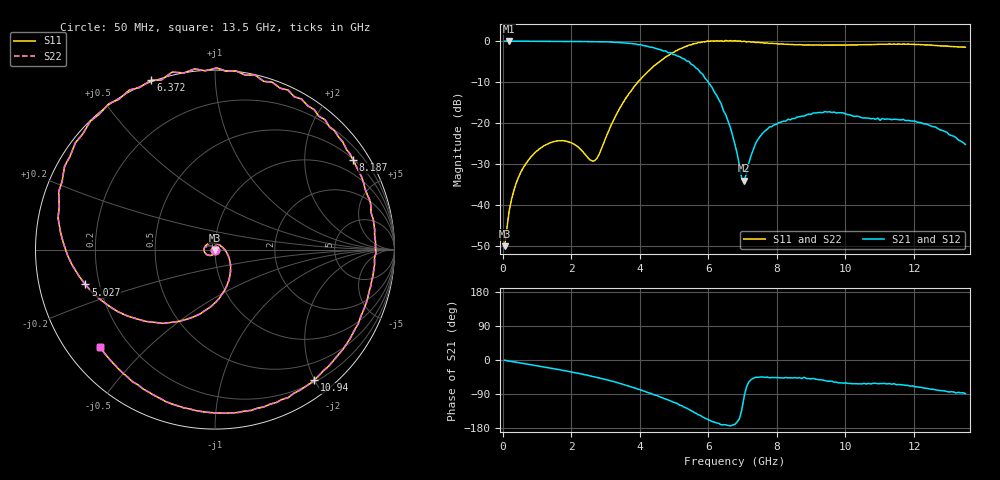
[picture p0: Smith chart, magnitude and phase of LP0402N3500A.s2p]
!	AVX THIN FILM OPERATION
!	0402 SIZE LOW PASS FILTER P/N LP0402N3500ANTR
!	Created August 2007
!	Network Analyzer HP8720E S.07.64: Feb23, 2000 Serial No.US39172382
#	mhz	S	db	R	50
!	S11	S11	S21	S21	S12	S12	S22	S22
!	dB	Phase	dB	Phase	dB	Phase	dB	Phase
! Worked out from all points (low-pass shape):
!   201 points, 50 MHz to 13.5 GHz, reference 50 ohm
!   highest |S21| = 0.00 dB at 184.5 MHz (marker M1); lowest = -34.1 dB at 7.044 GHz (marker M2)
!   |S21| within 3 dB of the highest: start of sweep to 4.925 GHz
!   lowest |S11| = -50.0 dB at 50 MHz (marker M3), VSWR 1.01, Z = 50.2 - j0.257 ohm
!   |S11| at or under -10 dB: start of sweep to 3.942 GHz
!   |S22| runs from -50.0 to 0.1 dB; largest |S21 - S12| = 0
!   S11 on the Smith chart (normalised r, x): 50 MHz: 1.00, -0.01; 5.027 GHz: 0.15, -0.13; 6.372 GHz: -0.01, +0.69; 8.187 GHz: 0.53, +3.31; 10.94 GHz: 0.23, -1.99; 13.5 GHz: 0.10, -0.36
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50  -50.02 -54.1  -0.02 -0.5  -0.02 -0.5  -50.02 -54.1
184.5  -41.33 -75.3  -0.00 -3.0  -0.00 -3.0  -41.33 -75.3
520.75  -32.01 -105.5  -0.04 -8.0  -0.04 -8.0  -32.01 -105.5
1058.75  -26.33 -139.0  -0.06 -16.3  -0.06 -16.3  -26.33 -139.0
1731.25  -24.29 178.9  -0.10 -27.0  -0.10 -27.0  -24.29 178.9
2336.5  -27.00 126.2  -0.10 -37.5  -0.10 -37.5  -27.00 126.2
2740  -28.64 39.4  -0.15 -46.0  -0.15 -46.0  -28.64 39.4
3614.25  -13.61 -71.1  -0.48 -67.3  -0.48 -67.3  -13.61 -71.1
4555.75  -5.10 -134.0  -2.01 -96.3  -2.01 -96.3  -5.10 -134.0
5026.5  -2.52 -164.9  -3.35 -112.9  -3.35 -112.9  -2.52 -164.9
5699  -0.37 151.0  -6.88 -144.1  -6.88 -144.1  -0.37 151.0
6371.5  0.07 110.7  -15.28 -171.2  -15.28 -171.2  0.07 110.7
6775  0.11 89.4  -25.28 -169.5  -25.28 -169.5  0.11 89.4
7044  -0.01 77.1  -34.05 -95.4  -34.05 -95.4  -0.01 77.1
7447.5  -0.29 60.1  -23.95 -45.9  -23.95 -45.9  -0.29 60.1
8187.25  -0.75 32.9  -19.53 -47.6  -19.53 -47.6  -0.75 32.9
9061.5  -0.98 5.2  -17.52 -48.7  -17.52 -48.7  -0.98 5.2
10137.5  -0.93 -27.4  -18.02 -61.8  -18.02 -61.8  -0.93 -27.4
10944.5  -0.79 -52.8  -18.78 -62.6  -18.78 -62.6  -0.79 -52.8
11280.75  -0.72 -63.6  -19.04 -62.0  -19.04 -62.0  -0.72 -63.6
12356.75  -0.93 -101.2  -20.22 -74.6  -20.22 -74.6  -0.93 -101.2
13500  -1.50 -139.8  -25.22 -88.5  -25.22 -88.5  -1.50 -139.8
